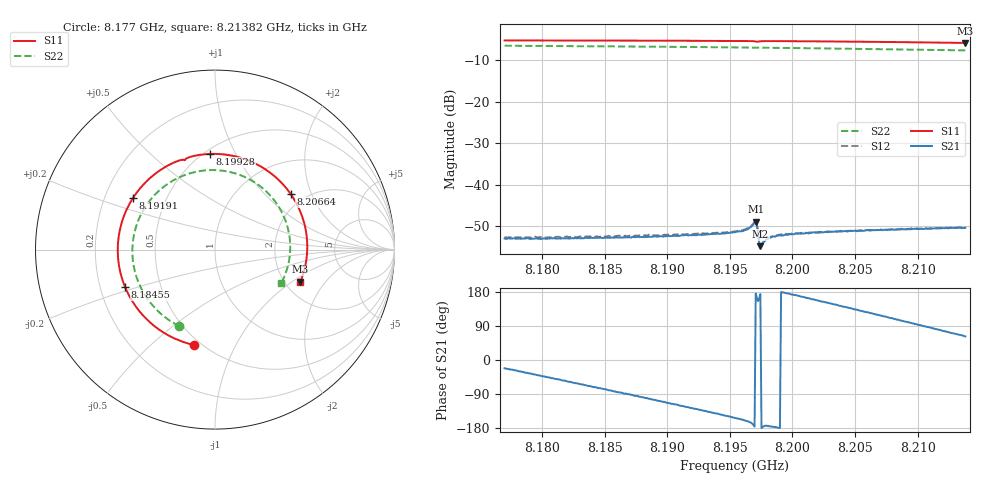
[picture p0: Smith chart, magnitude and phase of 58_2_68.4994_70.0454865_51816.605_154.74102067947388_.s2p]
#  HZ  S  RI  R  50.00
! Rohde & Schwarz Vector Network Analyzer
! Rohde-Schwarz,ZNB20-2Port,1311601062101988,3.16
! Created: UTC 3/20/2024, 5:06:16 PM
! freq[Hz]  re:S11  im:S11  re:S21  im:S21  re:S12  im:S12  re:S22  im:S22
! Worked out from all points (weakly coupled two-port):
!   401 points, 8.177 GHz to 8.21382 GHz, reference 50 ohm
!   highest |S21| = -48.89 dB at 8.19707 GHz (marker M1); lowest = -54.8 dB at 8.19743 GHz (marker M2)
!   lowest |S11| = -5.9 dB at 8.21382 GHz (marker M3), VSWR 3.07, Z = 121 - j58.1 ohm
!   |S11| at or under -10 dB: nowhere
!   |S22| runs from -7.7 to -6.6 dB; largest |S21 - S12| = 0.00018
!   S11 on the Smith chart (normalised r, x): 8.177 GHz: 0.46, -0.69; 8.18455 GHz: 0.31, -0.18; 8.19191 GHz: 0.32, +0.26; 8.19928 GHz: 0.53, +0.80; 8.20664 GHz: 1.68, +1.44; 8.21382 GHz: 2.42, -1.16
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8.177003e9  -0.117 -0.5315  0.00209 -0.000835  0.00214 -0.000898  -0.1986 -0.4263
8.179948e9  -0.3025 -0.4518  0.00164 -0.00149  0.00175 -0.00157  -0.3319 -0.3285
8.183169e9  -0.4572 -0.2931  0.000982 -0.00207  0.000968 -0.00215  -0.4283 -0.1777
8.18455e9  -0.5013 -0.2079  0.000629 -0.00222  0.000592 -0.00228  -0.4503 -0.1041
8.186943e9  -0.5401 -0.0463  -6.52e-06 -0.00234  -0.000103 -0.00243  -0.459 0.0284
8.189336e9  -0.5277 0.1198  -0.000727 -0.00226  -0.00081 -0.00232  -0.4294 0.1574
8.191913e9  -0.458 0.2857  -0.00146 -0.00199  -0.00158 -0.00202  -0.3573 0.2807
8.19541e9  -0.2836 0.4565  -0.00238 -0.00122  -0.00249 -0.00117  -0.2043 0.4003
8.196238e9  -0.2313 0.484  -0.00268 -0.000979  -0.00276 -0.000891  -0.1612 0.4181
8.196975e9  -0.1789 0.5007  -0.0035 -0.000259  -0.00357 -9.24e-05  -0.1214 0.4298
8.197067e9  -0.1724 0.4998  -0.00358 0.000282  -0.00361 0.00042  -0.1163 0.4311
8.197435e9  -0.1584 0.5082  -0.00181 0.0002  -0.00185 0.000328  -0.0964 0.4354
8.197527e9  -0.1519 0.5114  -0.00189 -3.48e-06  -0.0019 5.62e-05  -0.0912 0.4364
8.198263e9  -0.0992 0.5254  -0.00231 -0.000199  -0.00237 -0.000118  -0.0498 0.4419
8.199276e9  -0.0275 0.5332  -0.00245 8.07e-05  -0.00251 0.000182  0.00769 0.4426
8.201576e9  0.1335 0.5141  -0.00249 0.000889  -0.00247 0.000974  0.1359 0.4169
8.203969e9  0.2865 0.4433  -0.00215 0.0017  -0.00212 0.00175  0.2558 0.3498
8.206638e9  0.4208 0.311  -0.00144 0.00244  -0.00138 0.0025  0.3584 0.233
8.207743e9  0.4609 0.2435  -0.00106 0.00266  -0.000942 0.00272  0.3877 0.1745
8.209307e9  0.4992 0.1389  -0.000453 0.00286  -0.00042 0.0029  0.4132 0.0845
8.21078e9  0.5139 0.0349  0.000153 0.00295  0.000194 0.00295  0.4189 -0.00456
8.213817e9  0.4759 -0.1781  0.0014 0.00268  0.0015 0.00271  0.3705 -0.1842
